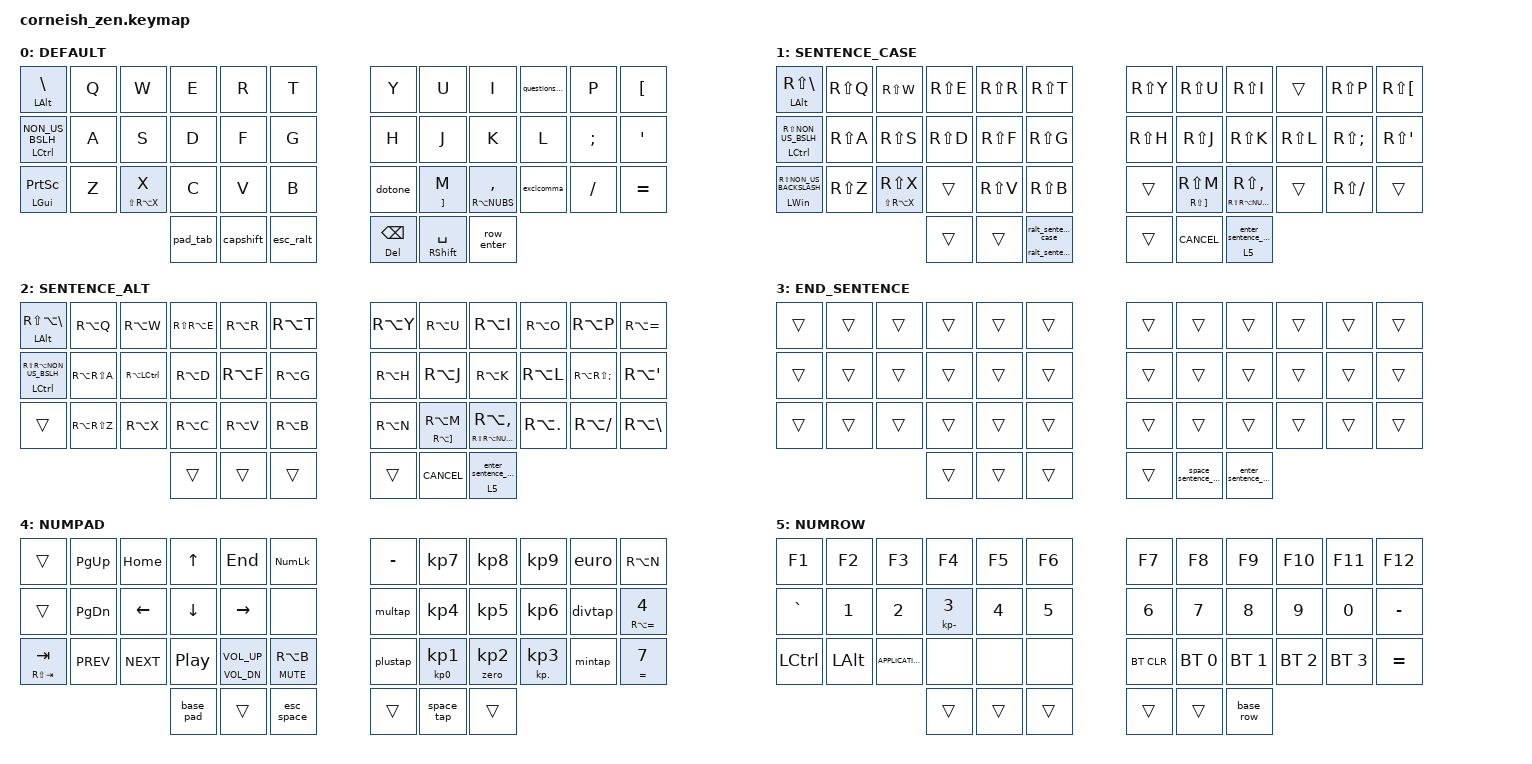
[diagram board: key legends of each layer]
/*
*
* Copyright (c) 2021 lowprokb.ca
* SPDX-License-Identifier: MIT
*
*/

#include <behaviors.dtsi>
#include <dt-bindings/zmk/bt.h>
#include <dt-bindings/zmk/keys.h>

#define DEFAULT 0
#define SENTENCE_CASE 1
#define SENTENCE_ALT 2
#define END_SENTENCE 3
#define NUMPAD 4
#define NUMROW 5

/ {
    chosen {
        zmk,matrix_transform = &default_transform;

        //zmk,matrix_transform = &five_column_transform;
    };
};

&sk {
    release-after-ms = <500>;
    quick-release;
    ignore-modifiers;
};

&sl {
    release-after-ms = <60000>;

    /delete-property/ ignore-modifiers;
};

/*****************************************************************************/
/* Home Row Mods */
/*****************************************************************************/
/* Left hand key positions for use with right hand mods */

#define LEFT_HAND_KEYS \
    /*    ┌────┬────┬────┬────┬────┬────┐                                  */ \
            0    1    2    3    4     5                                       \
    /*    ├────┼────┼────┼────┼────┼────┤                                  */ \
            12   13   14   15   16   17                                      \
    /*    ├────┼────┼────┼────┼────┼────┤                                  */ \
            24   25   26   27   28   29                                       \
    /*    ├────┼────┼────┼────┼────┼────┤                                  */ \

/* Right hand key positions for use with left hand mods */

#define RIGHT_HAND_KEYS \
    /*                                     ┌────┬────┬────┬────┬────┬────┐ */ \
                                             6     7    8    9   10   11      \
    /*                                     ├────┼────┼────┼────┼────┼────┤ */ \
                                             18   19   20   21   22   23      \
    /*                                     ├────┼────┼────┼────┼────┼────┤ */ \
                                             30   31   32   33   34   35      \
    /*                                     ├────┼────┼────┼────┼────┼────┤ */ \

/* Thumb key positions for use with mods on both hands */

#define THUMB_KEYS \
    /*                 ┌────┬────┬────┐      ┌────┬────┬────┐              */ \
                         36   37   38          39   40   41                   \
    /*                 ├────┼────┼────┤      ├────┼────┼────┤              */ \

/ {
    behaviors {
        ht_balanced: hold_tap {
            compatible = "zmk,behavior-hold-tap";
            label = "HOLD_TAP";
            #binding-cells = <2>;
            tapping-term-ms = <200>;
            quick_tap_ms = <0>;
            flavor = "balanced";
            bindings = <&kp>, <&kp>;
        };

        ht_tap: ht2 {
            compatible = "zmk,behavior-hold-tap";
            #binding-cells = <2>;
            tapping-term-ms = <200>;
            bindings = <&kp>, <&kp>;

            flavor = "tap-preferred";
            quick-tap-ms = <200>;
        };

        tt: tt {
            compatible = "zmk,behavior-hold-tap";
            #binding-cells = <2>;
            tapping-term-ms = <150>;
            bindings = <&hl0>, <&kp>;

            flavor = "balanced";
            quick-tap-ms = <125>;
        };

        zt: zt {
            compatible = "zmk,behavior-hold-tap";
            #binding-cells = <2>;
            tapping-term-ms = <200>;
            bindings = <&zero>, <&kp>;

            flavor = "balanced";
            quick-tap-ms = <200>;
        };

        ralt_case: ralt_case {
            compatible = "zmk,behavior-hold-tap";
            label = "RALT_CASE";
            #binding-cells = <2>;
            flavor = "balanced";
            tapping-term-ms = <150>;
            quick-tap-ms = <200>;
            bindings = <&ralt_sentence_case_hold>, <&ralt_sentence_case>;
        };

        hold_layer: hold_layer {
            compatible = "zmk,behavior-hold-tap";
            #binding-cells = <2>;
            tapping-term-ms = <100>;
            bindings = <&mo>, <&kp>;

            flavor = "hold-preferred";
            hold-while-undecided;
            hold-while-undecided-linger;
            label = "HOLD_LAYER";
        };

        exclcomma: exclcomma {
            compatible = "zmk,behavior-mod-morph";
            label = "EXCLCOMMA";
            #binding-cells = <0>;
            bindings = <&kp DOT>, <&excl_end_sentence>;

            mods = <(MOD_LSFT)>;
            keep-mods = <(MOD_LSFT)>;
        };

        questionstrophe: questionstrophe {
            compatible = "zmk,behavior-mod-morph";
            label = "QUESTIONSTROPHE";
            #binding-cells = <0>;
            bindings = <&kp O>, <&question_end_sentence>;

            mods = <(MOD_LSFT)>;
            keep-mods = <(MOD_LSFT)>;
        };

        dotone: dot_one {
            compatible = "zmk,behavior-mod-morph";
            label = "DOT_ONE";
            #binding-cells = <0>;
            bindings = <&dot_end_sentence>, <&dottwo>;

            mods = <(MOD_LSFT|MOD_RALT)>;
        };

        dottwo: dot_two {
            compatible = "zmk,behavior-mod-morph";
            label = "DOT_TWO";
            #binding-cells = <0>;
            bindings = <&kp RA(N)>, <&ellips>;

            mods = <(MOD_LSFT)>;
        };

        ellips: ellips {
            compatible = "zmk,behavior-mod-morph";
            label = "ELLIPS";
            #binding-cells = <0>;
            bindings = <&kp LS(N)>, <&ellips_end_sentence>;

            mods = <(MOD_RALT)>;
        };

        capshift: capshift {
            compatible = "zmk,behavior-tap-dance";
            label = "CAPSHIFT";
            #binding-cells = <0>;
            bindings = <&sk LSHFT>, <&kp CAPS>;
        };

        pad_tab: pad_tab {
            compatible = "zmk,behavior-tap-dance";
            label = "PAD_TAB";
            #binding-cells = <0>;
            bindings = <&hold_layer 4 TAB>, <&to 4>;
        };

        row_enter: row_enter {
            compatible = "zmk,behavior-tap-dance";
            label = "ROW_ENTER";
            #binding-cells = <0>;
            bindings = <&hold_layer 5 ENTER>, <&to 5>;
        };

        esc_ralt: esc_ralt {
            compatible = "zmk,behavior-tap-dance";
            label = "ESC_RALT";
            #binding-cells = <0>;
            bindings = <&sk RIGHT_ALT>, <&kp ESCAPE>;
        };

        layer_entercase: layer_entercase {
            compatible = "zmk,behavior-hold-tap";
            label = "LAYER_ENTERCASE";
            bindings = <&mo>, <&enter_sentence_case>;

            #binding-cells = <2>;
            hold-while-undecided;
            tapping-term-ms = <100>;
        };

        base_pad: base_pad {
            compatible = "zmk,behavior-tap-dance";
            label = "BASE_PAD";
            #binding-cells = <0>;
            bindings = <&tt 4 TAB>, <&to 0>;
        };

        space_tap: space_tap {
            compatible = "zmk,behavior-tap-dance";
            label = "SPACE_TAP";
            #binding-cells = <0>;
            bindings = <&ht_tap LEFT_SHIFT RS(SPACE)>, <&kp SPACE>;
        };

        base_row: base_row {
            compatible = "zmk,behavior-tap-dance";
            label = "BASE_ROW";
            #binding-cells = <0>;
            bindings = <&tt 5 ENTER>, <&to 0>;
        };

        esc_space: esc_space {
            compatible = "zmk,behavior-tap-dance";
            label = "ESC_SPACE";
            #binding-cells = <0>;
            bindings = <&kp SPACE>, <&kp ESCAPE>;
        };

        mintap: mintap {
            compatible = "zmk,behavior-tap-dance";
            label = "MINTAP";
            #binding-cells = <0>;
            bindings = <&ht_balanced DOT KP_MINUS>, <&min>;
        };

        divtap: divtap {
            compatible = "zmk,behavior-tap-dance";
            label = "DIVTAP";
            #binding-cells = <0>;
            bindings = <&kp KP_DIVIDE>, <&div>;
        };

        multap: multap {
            compatible = "zmk,behavior-tap-dance";
            label = "MULTAP";
            #binding-cells = <0>;
            bindings = <&kp KP_MULTIPLY>, <&mult>;
        };

        plustap: plustap {
            compatible = "zmk,behavior-tap-dance";
            label = "PLUSTAP";
            #binding-cells = <0>;
            bindings = <&kp KP_PLUS>, <&plus>;
        };
    };

    macros {
        dot_end_sentence: dot_end_sentence {
            label = "dot_end_sentence";
            compatible = "zmk,behavior-macro";
            #binding-cells = <0>;
            wait-ms = <0>;
            tap-ms = <0>;
            bindings = <&macro_tap>, <&kp N>, <&macro_tap>, <&sl 3>;
        };

        question_end_sentence: question_end_sentence {
            label = "question_end_sentence";
            compatible = "zmk,behavior-macro";
            #binding-cells = <0>;
            wait-ms = <0>;
            tap-ms = <0>;
            bindings = <&macro_tap>, <&kp LS(O)>, <&macro_tap>, <&sl 3>;
        };

        excl_end_sentence: excl_end_sentence {
            label = "excl_end_sentence";
            compatible = "zmk,behavior-macro";
            #binding-cells = <0>;
            wait-ms = <0>;
            tap-ms = <0>;
            bindings = <&macro_tap>, <&kp LS(PERIOD)>, <&macro_tap>, <&sl 3>;
        };

        ellips_end_sentence: ellips_end_sentence {
            label = "ellips_end_sentence";
            compatible = "zmk,behavior-macro";
            #binding-cells = <0>;
            wait-ms = <0>;
            tap-ms = <0>;
            bindings = <&macro_tap>, <&kp LS(RA(N))>, <&macro_tap>, <&sl 3>;
        };

        space_sentence_case: space_sentence_case {
            label = "space_sentence_case";
            compatible = "zmk,behavior-macro";
            #binding-cells = <0>;
            wait-ms = <0>;
            tap-ms = <0>;
            bindings = <&macro_tap>, <&kp SPACE>, <&macro_tap>, <&sl 1>;
        };

        enter_sentence_case: enter_sentence_case {
            label = "enter_sentence_case";
            compatible = "zmk,behavior-macro";
            #binding-cells = <0>;
            wait-ms = <0>;
            tap-ms = <0>;
            bindings = <&macro_tap>, <&kp ENTER>, <&macro_tap>, <&sl 1>;
        };

        ralt_sentence_case: ralt_sentence_case {
            label = "ralt_sentence_case";
            compatible = "zmk,behavior-macro";
            #binding-cells = <0>;
            wait-ms = <0>;
            tap-ms = <0>;
            bindings = <&macro_tap>, <&sl 2>;
        };

        ralt_sentence_case_hold: ralt_sentence_case_hold {
            label = "ralt_sentence_case_hold";
            compatible = "zmk,behavior-macro";
            #binding-cells = <0>;
            wait-ms = <0>;
            tap-ms = <0>;
            bindings =
                <&macro_press>,
                <&kp RALT>,
                <&macro_tap>,
                <&sl 2>,
                <&macro_pause_for_release>,
                <&macro_release>,
                <&kp RALT>;
        };

        hl0: hl0 {
            label = "&HL0";
            compatible = "zmk,behavior-macro-one-param";
            #binding-cells = <1>;
            tap-ms = <0>;
            wait-ms = <0>;
            bindings =
                <&to 0>,
                <&macro_pause_for_release>,
                <&macro_param_1to1 &to MACRO_PLACEHOLDER>;
        };

        euro: euro {
            label = "&EURO";
            compatible = "zmk,behavior-macro";
            #binding-cells = <0>;
            tap-ms = <0>;
            wait-ms = <0>;
            bindings = <&kp LS(SPACE) &kp LS(GRAVE)>;
        };

        zero: zero {
            label = "&ZERO";
            compatible = "zmk,behavior-macro";
            #binding-cells = <0>;
            tap-ms = <0>;
            wait-ms = <0>;
            bindings = <&kp KP_N0 &kp KP_N0>;
        };

        quote_sentence_case: quote_sentence_case {
            compatible = "zmk,behavior-macro";
            #binding-cells = <0>;
            bindings = <&macro_tap>, <&kp NUMBER_2>, <&macro_tap>, <&sl 1>;

            label = "QUOTE_SENTENCE_CASE";
        };

        div: div {
            compatible = "zmk,behavior-macro";
            #binding-cells = <0>;
            bindings = <&macro_tap>, <&kp RA(X)>, <&macro_tap>, <&kp KP_DIVIDE>;

            label = "DIV";
        };

        plus: plus {
            compatible = "zmk,behavior-macro";
            #binding-cells = <0>;
            bindings = <&macro_tap>, <&kp RA(X)>, <&macro_tap>, <&kp KP_PLUS>;

            label = "PLUS";
        };

        mult: mult {
            compatible = "zmk,behavior-macro";
            #binding-cells = <0>;
            bindings =
                <&macro_tap>,
                <&kp RA(X)>,
                <&macro_tap>,
                <&kp KP_MULTIPLY>;

            label = "MULT";
        };

        min: min {
            compatible = "zmk,behavior-macro";
            #binding-cells = <0>;
            bindings = <&macro_tap>, <&kp RA(X)>, <&macro_tap>, <&kp KP_MINUS>;

            label = "MIN";
        };
    };

    combos {
        compatible = "zmk,combos";

        combo_cut {
            timeout-ms = <50>;
            key-positions = <25 26>;
            bindings = <&kp LS(DELETE)>;
        };

        combo_copy {
            timeout-ms = <50>;
            key-positions = <26 27>;
            bindings = <&kp LC(INSERT)>;
        };

        combo_paste {
            timeout-ms = <50>;
            key-positions = <27 28>;
            bindings = <&kp LS(INSERT)>;
        };
    };

    keymap {
        compatible = "zmk,keymap";

        base {
            label = "DEFAULT";

            // ------------------------------------------------------------------------------------------
            //    |PSCRN|  X  |  C  |  O  |  P  |  W  |   |  J  |  M   |  D  |  ’  |  Y  |  À  |
            //    |  Ê  |  A  |  S  |  E  |  N  |  F  |   |  L  |  R   |  T  |  I  |  U  |  K  |
            //    | TAB |  È  |  Q  |  ^  |  V  |  B  |   |  .  | H/Q  | G/Q |  ,  |  É  |  Z  |
            //                     |CP/ESC| PAD | ROW |   |BKSP |  SPC | ENTER |

            bindings = <
&ht_tap LEFT_ALT BACKSLASH    &kp Q  &kp W                &kp E     &kp R      &kp T        &kp Y                  &kp U                &kp I                   &questionstrophe  &kp P          &kp LEFT_BRACKET
&ht_tap LCTRL NON_US_BSLH     &kp A  &kp S                &kp D     &kp F      &kp G        &kp H                  &kp J                &kp K                   &kp L             &kp SEMICOLON  &kp SQT
&ht_tap LEFT_GUI PRINTSCREEN  &kp Z  &ht_tap LS(RA(X)) X  &kp C     &kp V      &kp B        &dotone                &ht_tap RBKT M       &ht_tap RA(NUBS) COMMA  &exclcomma        &kp FSLH       &kp EQUAL
                                                          &pad_tab  &capshift  &esc_ralt    &ht_balanced DEL BSPC  &ht_tap RSHFT SPACE  &row_enter
            >;
        };

        SentenceCase {
            label = "SENTENCE_CASE";
            bindings = <
&ht_tap LEFT_ALT RS(BACKSLASH)         &kp RS(Q)  &kp RS(W)                &kp RS(E)  &kp RS(R)  &kp RS(T)         &kp RS(Y)  &kp RS(U)               &kp RS(I)                       &trans     &kp RS(P)          &kp RS(LEFT_BRACKET)
&ht_tap LCTRL RS(NON_US_BSLH)          &kp RS(A)  &kp RS(S)                &kp RS(D)  &kp RS(F)  &kp RS(G)         &kp RS(H)  &kp RS(J)               &kp RS(K)                       &kp RS(L)  &kp RS(SEMICOLON)  &kp RS(SQT)
&ht_tap LEFT_WIN RS(NON_US_BACKSLASH)  &kp RS(Z)  &ht_tap LS(RA(X)) RS(X)  &trans     &kp RS(V)  &kp RS(B)         &trans     &ht_tap RS(RBKT) RS(M)  &ht_tap RS(RA(NUBS)) RS(COMMA)  &trans     &kp RS(FSLH)       &trans
                                                                           &trans     &trans     &ralt_case 0 0    &trans     &kp K_CANCEL            &layer_entercase 5 0
            >;
        };

        SentenceALT {
            label = "SENTENCE_ALT";
            bindings = <
&ht_tap LEFT_ALT RS(LA(BACKSLASH))  &kp RA(Q)      &kp RA(W)      &kp RS(RA(E))  &kp RA(R)  &kp RA(T)    &kp RA(Y)  &kp RA(U)                    &kp RA(I)                            &kp RA(O)    &kp RA(P)              &kp RA(EQUAL)
&ht_tap LCTRL RS(RA(NON_US_BSLH))   &kp RA(RS(A))  &kp RA(LCTRL)  &kp RA(D)      &kp RA(F)  &kp RA(G)    &kp RA(H)  &kp RA(J)                    &kp RA(K)                            &kp RA(L)    &kp RA(RS(SEMICOLON))  &kp RA(SQT)
&trans                              &kp RA(RS(Z))  &kp RA(X)      &kp RA(C)      &kp RA(V)  &kp RA(B)    &kp RA(N)  &ht_balanced RA(RBKT) RA(M)  &ht_balanced RS(RA(NUBS)) RA(COMMA)  &kp RA(DOT)  &kp RA(FSLH)           &kp RA(BSLH)
                                                                  &trans         &trans     &trans       &trans     &kp K_CANCEL                 &layer_entercase 5 0
            >;
        };

        EndSentence {
            label = "END_SENTENCE";
            bindings = <
&trans  &trans  &trans  &trans  &trans  &trans    &trans  &trans                &trans                &trans  &trans  &trans
&trans  &trans  &trans  &trans  &trans  &trans    &trans  &trans                &trans                &trans  &trans  &trans
&trans  &trans  &trans  &trans  &trans  &trans    &trans  &trans                &trans                &trans  &trans  &trans
                        &trans  &trans  &trans    &trans  &space_sentence_case  &enter_sentence_case
            >;
        };

        numpad {
            label = "NUMPAD";

            // -----------------------------------------------------------------------------------------
            //    |PSCRN| PUP | HOME|  ↑  | END |NUMLCK |   |  =  |  7   |  8  |  9  |  €  |  :  |
            //    |     | PDN |  ←  |  ↓  |  →  |       |   |  *  |  4   |  5  |  6  |  /  |  (  |
            //    | TAB | PREV| NEXT| PLAY| VOL |MUTE/✓|   |  +  |  1/0  |2/00 | 3/. | -/, | )/% |
            //                        |CP/ESC| PAD | ROW |   |BKSP |  SPC | ENTER |

            bindings = <
&trans                    &kp PG_UP   &kp HOME    &kp UP     &kp END                         &kp KP_NUM              &kp MINUS  &kp KP_N7                 &kp KP_N8    &kp KP_N9                  &euro    &kp RA(N)
&trans                    &kp PG_DN   &kp LEFT    &kp DOWN   &kp RIGHT                       &none                   &multap    &kp KP_N4                 &kp KP_N5    &kp KP_N6                  &divtap  &ht_balanced RA(EQUAL) NUMBER_4
&ht_balanced RS(TAB) TAB  &kp C_PREV  &kp C_NEXT  &kp C_PP   &ht_balanced C_VOL_DN C_VOL_UP  &ht_tap C_MUTE RA(B)    &plustap   &ht_balanced KP_N0 KP_N1  &zt 0 KP_N2  &ht_balanced KP_DOT KP_N3  &mintap  &ht_balanced EQUAL N7
                                                  &base_pad  &trans                          &esc_space              &trans     &space_tap                &trans
            >;
        };

        numrow {
            label = "NUMROW";

            // -----------------------------------------------------------------------------------------
            //                 |  F1  |  F2 |  F3 |  F4 |  F5 |  F6 |   |  F7 |  F8 |  F9 | F10 | F11 | F12 |
            //                 |  $   |  1  |  2  |  3  |  4  |  5  |   |  6  |  7  |  8  |  9  |  0  |  =  |
            //                 |      |     |     |     |     |     |   |BTCLR| BT 1| BT 2| BT 3| BT 4|  %  |
            //                                    |CP/ESC| PAD | ROW |   |BKSP |  SPC | ENTER |

            bindings = <
&kp F1     &kp F2        &kp F3             &kp F4                     &kp F5  &kp F6    &kp F7      &kp F8        &kp F9        &kp F10       &kp F11       &kp F12
&kp GRAVE  &kp NUMBER_1  &kp N2             &ht_tap KP_MINUS NUMBER_3  &kp N4  &kp N5    &kp N6      &kp N7        &kp N8        &kp N9        &kp N0        &kp MINUS
&kp LCTRL  &kp LALT      &kp K_APPLICATION  &none                      &none   &none     &bt BT_CLR  &bt BT_SEL 0  &bt BT_SEL 1  &bt BT_SEL 2  &bt BT_SEL 3  &kp EQUAL
                                            &trans                     &trans  &trans    &trans      &trans        &base_row
            >;
        };
    };

    conditional_layers { compatible = "zmk,conditional-layers"; };
};
